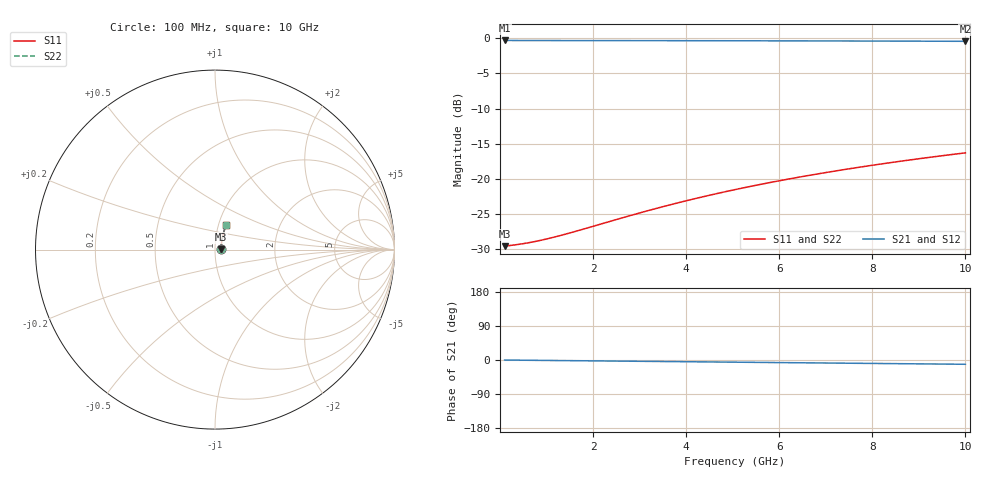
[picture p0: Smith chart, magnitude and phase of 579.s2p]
# Hz S RI R 50.00
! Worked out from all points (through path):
!   100 points, 100 MHz to 10 GHz, reference 50 ohm
!   highest |S21| = -0.29 dB at 100 MHz (marker M1); lowest = -0.4 dB at 10 GHz (marker M2)
!   group delay of S21, straight-line fit = 3.14 ps
!   lowest |S11| = -29.6 dB at 100 MHz (marker M3), VSWR 1.07, Z = 53.4 + j0.154 ohm
!   |S11| at or under -10 dB: start of sweep to end of sweep
!   |S22| runs from -29.6 to -16.3 dB; largest |S21 - S12| = 0
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1e8  0.0329 0.00144  0.9671 -0.00192  0.9671 -0.00192  0.0329 0.00144
3e8  0.0333 0.00433  0.9667 -0.00576  0.9667 -0.00576  0.0333 0.00433
5e8  0.0336 0.00721  0.9664 -0.0096  0.9664 -0.0096  0.0336 0.00721
7e8  0.0338 0.0101  0.9661 -0.0134  0.9661 -0.0134  0.0338 0.0101
9e8  0.0341 0.013  0.9659 -0.0173  0.9659 -0.0173  0.0341 0.013
1.1e9  0.0343 0.0158  0.9657 -0.0211  0.9657 -0.0211  0.0343 0.0158
1.3e9  0.0346 0.0187  0.9654 -0.0249  0.9654 -0.0249  0.0346 0.0187
1.8e9  0.0352 0.0259  0.9647 -0.0345  0.9647 -0.0345  0.0352 0.0259
2.8e9  0.0368 0.0402  0.9631 -0.0535  0.9631 -0.0535  0.0368 0.0402
3.4e9  0.038 0.0487  0.9618 -0.0649  0.9618 -0.0649  0.038 0.0487
3.8e9  0.039 0.0544  0.9609 -0.0725  0.9609 -0.0725  0.039 0.0544
4.2e9  0.0399 0.06  0.9598 -0.0801  0.9598 -0.0801  0.0399 0.06
4.6e9  0.041 0.0656  0.9587 -0.0876  0.9587 -0.0876  0.041 0.0656
5.1e9  0.0425 0.0726  0.9572 -0.097  0.9572 -0.097  0.0425 0.0726
5.5e9  0.0437 0.0782  0.9559 -0.1045  0.9559 -0.1045  0.0437 0.0782
5.9e9  0.0451 0.0838  0.9545 -0.112  0.9545 -0.112  0.0451 0.0838
6.3e9  0.0465 0.0893  0.953 -0.1194  0.953 -0.1194  0.0465 0.0893
6.7e9  0.048 0.0948  0.9514 -0.1268  0.9514 -0.1268  0.048 0.0948
7.5e9  0.0513 0.1057  0.948 -0.1415  0.948 -0.1415  0.0513 0.1057
8.4e9  0.0554 0.1178  0.9438 -0.1579  0.9438 -0.1579  0.0554 0.1178
9.2e9  0.0593 0.1284  0.9397 -0.1723  0.9397 -0.1723  0.0593 0.1284
1e10  0.0636 0.1388  0.9352 -0.1866  0.9352 -0.1866  0.0636 0.1388
